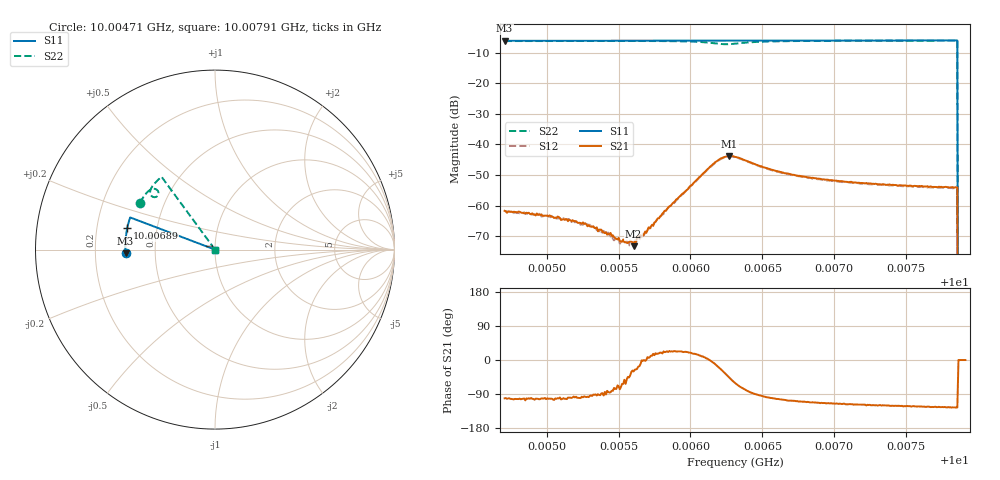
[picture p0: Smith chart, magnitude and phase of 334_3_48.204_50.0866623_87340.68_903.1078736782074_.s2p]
#  HZ  S  RI  R  50.00
! Rohde & Schwarz Vector Network Analyzer
! Rohde-Schwarz,ZNB20-2Port,1311601062101988,3.16
! Created: UTC 3/20/2024, 11:51:01 AM
! freq[Hz]  re:S11  im:S11  re:S21  im:S21  re:S12  im:S12  re:S22  im:S22
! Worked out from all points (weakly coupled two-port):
!   401 points, 10.00471 GHz to 10.00791 GHz, reference 50 ohm
!   highest |S21| = -43.79 dB at 10.00627 GHz (marker M1); lowest = -73.3 dB at 10.0056 GHz (marker M2)
!   lowest |S11| = -6.0 dB at 10.00471 GHz (marker M3), VSWR 2.99, Z = 16.7 - j0.942 ohm
!   |S11| at or under -10 dB: 10.00786 GHz to end of sweep
!   |S22| runs from - to -6.0 dB; largest |S21 - S12| = 0.00036
!   S11 on the Smith chart (normalised r, x): 10.00471 GHz: 0.33, -0.02; 10.00689 GHz: 0.33, +0.11; 10.00791 GHz: 1.00, +0.00
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1.0004707e10  -0.4986 -0.0212  -0.000159 -0.000805  -0.000152 -0.000786  -0.4192 0.2606
1.000502e10  -0.4996 -0.000743  -0.00014 -0.000674  -0.000115 -0.000645  -0.4081 0.2791
1.0005244e10  -0.4999 0.0137  -5.99e-05 -0.000499  -7.96e-05 -0.000493  -0.3995 0.2923
1.00053e10  -0.4998 0.0174  -3.65e-05 -0.000454  -5.25e-05 -0.000484  -0.3971 0.2958
1.0005412e10  -0.4999 0.0246  -5.46e-06 -0.000368  6.88e-05 -0.00033  -0.3921 0.3026
1.0005517e10  -0.4996 0.0314  8.44e-05 -0.000243  0.000105 -0.000219  -0.3872 0.309
1.0005605e10  -0.4995 0.0371  0.000187 -0.000108  0.000216 -0.000114  -0.3826 0.3145
1.0005645e10  -0.4994 0.0397  0.00028 -8.2e-05  0.000263 -5.09e-05  -0.3803 0.317
1.0005677e10  -0.4993 0.0418  0.000338 -2.03e-06  0.000327 2.07e-05  -0.3784 0.3189
1.0005781e10  -0.4989 0.0487  0.00059 0.000186  0.000582 0.00023  -0.3714 0.3257
1.0005837e10  -0.4986 0.0522  0.000807 0.000342  0.00079 0.000378  -0.3669 0.329
1.0006158e10  -0.4962 0.0728  0.00473 -0.000546  0.00464 -0.000301  -0.3186 0.3276
1.0006214e10  -0.4957 0.0762  0.00537 -0.00253  0.00538 -0.00226  -0.3149 0.3103
1.000627e10  -0.4953 0.0797  0.00445 -0.00469  0.00461 -0.00438  -0.326 0.2948
1.000631e10  -0.4951 0.0821  0.0031 -0.00544  0.0033 -0.00523  -0.3389 0.2922
1.0006582e10  -0.4929 0.0994  -0.000739 -0.00369  -0.000592 -0.00364  -0.36 0.3309
1.0006847e10  -0.4897 0.1162  -0.00105 -0.00265  -0.000904 -0.00259  -0.3484 0.3536
1.0006887e10  -0.4891 0.119  -0.00106 -0.00255  -0.000941 -0.00252  -0.3464 0.3563
1.0007384e10  -0.4816 0.1499  -0.00113 -0.00191  -0.001 -0.00187  -0.3219 0.384
1.0007841e10  -0.4731 0.1781  -0.00115 -0.00163  -0.00105 -0.00163  -0.299 0.4049
1.0007881e10  0 0  0 0  0 0  0 0
1.0007913e10  0 0  0 0  0 0  0 0
